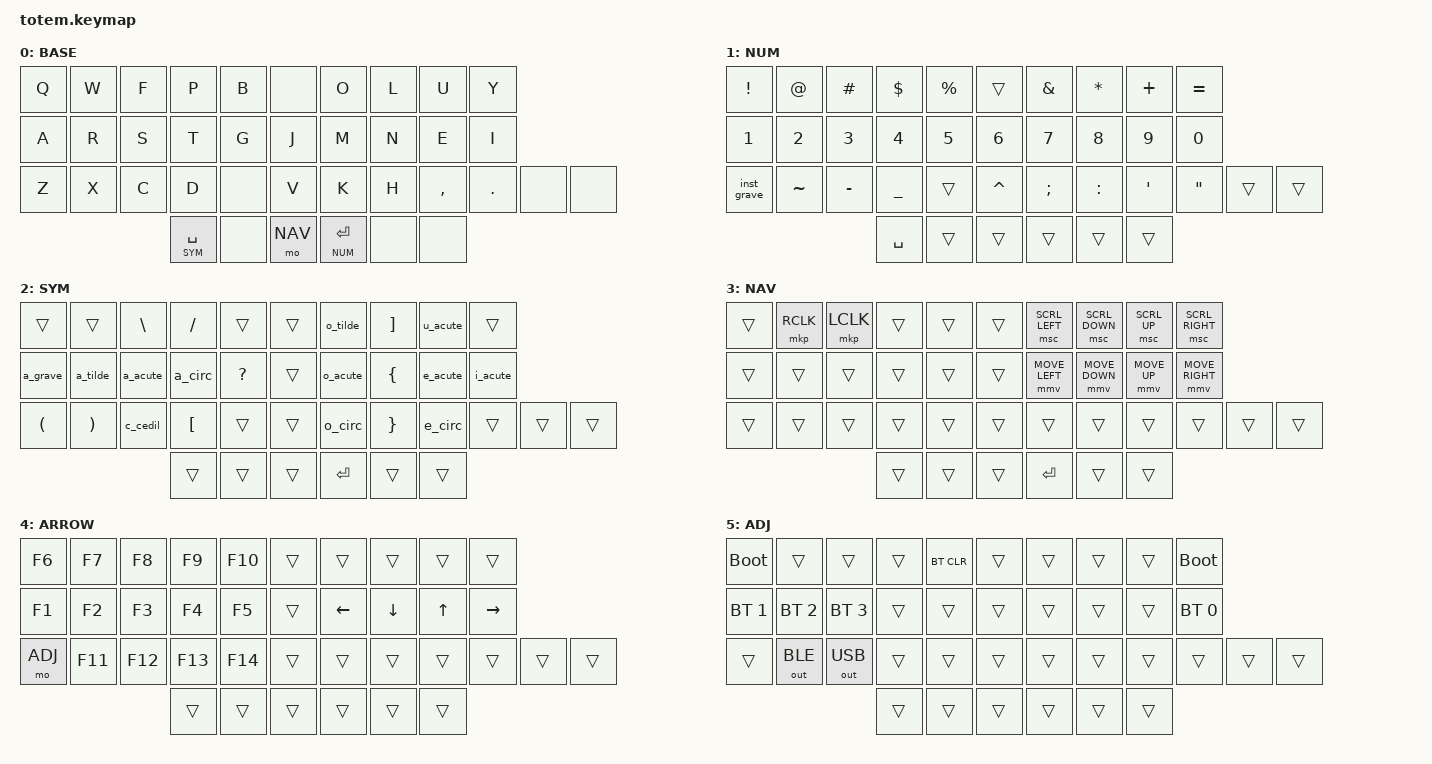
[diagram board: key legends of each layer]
//
//                                                        ▀▀▀▀▀     ▀▀▀▀▀          ▀▀█▀▀
//                                                        ▄▀▀▀▄  ▄  ▄▀▀▀▄  ▄  ▄▀▀▀▄  █  ▄▀▀▀▄
//                                                        █   █  █  █   █  █  █   █  █  █   █
//                                                         ▀▀▀   █   ▀▀▀   █   ▀▀▀   ▀   ▀▀▀
//                                                               █      ▄▄▄█▄▄▄    █   █  
//                                                               ▀      █  █  █     █▄█
//                                                             ▀▀▀▀▀    █  █  █      ▀
//                                                                      ▀  ▀  ▀
//
// ▄▄▄▄▄▄▄▄▄▄▄▄▄▄▄▄▄▄▄▄▄▄▄▄▄▄▄▄▄▄▄▄▄▄▄▄▄▄▄▄▄▄▄▄▄▄▄▄▄▄▄▄▄▄▄▄▄▄▄▄▄▄▄▄▄▄▄▄▄▄▄▄▄▄▄▄▄▄▄▄▄▄▄▄▄▄▄▄▄▄▄▄▄▄▄▄▄▄▄▄▄▄▄▄▄▄▄▄▄▄▄▄▄▄▄▄▄▄▄▄▄▄▄▄▄▄▄▄▄▄▄▄▄▄▄▄▄▄▄▄▄▄▄▄▄▄▄▄▄

#define ZMK_POINTING_DEFAULT_MOVE_VAL 1500  // default: 600

#include <behaviors.dtsi>
#include <dt-bindings/zmk/bt.h>
#include <dt-bindings/zmk/keys.h>
#include <dt-bindings/zmk/outputs.h>
#include <dt-bindings/zmk/pointing.h>

#define BASE       0
#define NUM        1
#define SYM        2
#define NAV        3
#define ARROW      4
#define ADJ        5

// &mt {
//     quick-tap-ms = <200>;
//     global-quick-tap;
//     flavor = "tap-preferred";
//     tapping-term-ms = <170>;
// };

&lt {
    tapping-term-ms = <170>;
    quick-tap-ms = <200>;
    flavor = "tap-preferred";
};

/ {
    macros {
        inst_grave: inst_grave { label = "instant grave"; compatible = "zmk,behavior-macro"; #binding-cells = <0>;
            bindings = <&macro_press &kp LSHFT>, <&macro_tap &kp GRAVE>, <&macro_release &kp LSHFT>; };
        a_grave: a_grave { compatible = "zmk,behavior-macro"; #binding-cells = <0>;
            bindings = <&macro_tap &kp GRAVE>, <&macro_tap &kp A>; };

        a_acute: a_acute { compatible = "zmk,behavior-macro"; #binding-cells = <0>;
            bindings = <&macro_tap &kp SQT>, <&macro_tap &kp A>; };
        o_acute: o_acute { compatible = "zmk,behavior-macro"; #binding-cells = <0>;
            bindings = <&macro_tap &kp SQT>, <&macro_tap &kp O>; };
        e_acute: e_acute { compatible = "zmk,behavior-macro"; #binding-cells = <0>;
            bindings = <&macro_tap &kp SQT>, <&macro_tap &kp E>; };
        i_acute: i_acute { compatible = "zmk,behavior-macro"; #binding-cells = <0>;
            bindings = <&macro_tap &kp SQT>, <&macro_tap &kp I>; };
        u_acute: u_acute { compatible = "zmk,behavior-macro"; #binding-cells = <0>;
            bindings = <&macro_tap &kp SQT>, <&macro_tap &kp U>; };

        a_circ: a_circ { compatible = "zmk,behavior-macro"; #binding-cells = <0>;
            bindings = <&macro_press &kp LSHFT>, <&macro_tap &kp N6>, <&macro_release &kp LSHFT>, <&macro_tap &kp A>; };
        o_circ: o_circ { compatible = "zmk,behavior-macro"; #binding-cells = <0>;
            bindings = <&macro_press &kp LSHFT>, <&macro_tap &kp N6>, <&macro_release &kp LSHFT>, <&macro_tap &kp O>; };
        e_circ: e_circ { compatible = "zmk,behavior-macro"; #binding-cells = <0>;
            bindings = <&macro_press &kp LSHFT>, <&macro_tap &kp N6>, <&macro_release &kp LSHFT>, <&macro_tap &kp E>; };

        a_tilde: a_tilde { compatible = "zmk,behavior-macro"; #binding-cells = <0>;
            bindings = <&macro_press &kp LSHFT>, <&macro_tap &kp GRAVE>, <&macro_release &kp LSHFT>, <&macro_tap &kp A>; };
        o_tilde: o_tilde { compatible = "zmk,behavior-macro"; #binding-cells = <0>;
            bindings = <&macro_press &kp LSHFT>, <&macro_tap &kp GRAVE>, <&macro_release &kp LSHFT>, <&macro_tap &kp O>; };
        c_cedil: c_cedil { compatible = "zmk,behavior-macro"; #binding-cells = <0>;
            bindings = <&macro_tap &kp SQT>, <&macro_tap &kp C>; };

    };
    combos {
        compatible = "zmk,combos";

        combo_lguictrlshift {
            slow-release;
            timeout-ms = <40>;
            key-positions = <10 11 12 13>;       // A + R + S + T
            bindings = <&kp LG(LC(LSHFT))>;
        };
        combo_rguictrlshift {
            slow-release;
            timeout-ms = <40>;
            key-positions = <16 17 18 19>;       // M + N + E + I
            bindings = <&kp RG(RC(RSHFT))>;
        };

        combo_lguictrlaltshift {
            slow-release;
            timeout-ms = <40>;
            key-positions = <10 11  2 13>;       // A + R + F + T
            bindings = <&kp LG(LC(LA((RSHFT))))>;
        };

        combo_rguictrlaltshift {
            slow-release;
            timeout-ms = <40>;
            key-positions = <16  7 18 19>;       // M + L + E + I
            bindings = <&kp RG(RC(RA((RSHFT))))>;
        };

        combo_lshift {
            slow-release;
            timeout-ms = <40>;
            key-positions = <12 13>;       // T + S
            bindings = <&kp LSHFT>;
        };
        combo_rshift {
            slow-release;
            timeout-ms = <40>;
            key-positions = <16 17>;       // M + N
            bindings = <&kp RSHFT>;
        };
        combo_lshift_ctrl {
            slow-release;
            timeout-ms = <40>;
            key-positions = <11 12 13>;       // R S T
            bindings = <&kp LS(LCTRL)>;
        };
        combo_rshift_ctrl {
            slow-release;
            timeout-ms = <40>;
            key-positions = <16 17 18>;       // M N E
            bindings = <&kp RS(RCTRL)>;
        };

        combo_lctrl {
            slow-release;
            timeout-ms = <40>;
            key-positions = <11 12>;       // R S
            bindings = <&kp LCTRL>;
        };
        combo_rctrl {
            slow-release;
            timeout-ms = <40>;
            key-positions = <17 18>;       // N E
            bindings = <&kp RCTRL>;
        };

        combo_lalt {
            slow-release;
            timeout-ms = <40>;
            key-positions = <1 2>;         // W F
            bindings = <&kp LALT>;
        };
        combo_ralt {
            slow-release;
            timeout-ms = <40>;
            key-positions = <7 8>;         // L U
            bindings = <&kp RALT>;
        };
        combo_lalt_shift {
            slow-release;
            timeout-ms = <40>;
            key-positions = <2 13>;        // F T
            bindings = <&kp LA(LSHFT)>;
        };
        combo_ralt_shift {
            slow-release;
            timeout-ms = <40>;
            key-positions = <7 16>;        // L M
            bindings = <&kp RA(RSHFT)>;
        };
        combo_lalt_ctrl {
            slow-release;
            timeout-ms = <40>;
            key-positions = <11 2>;        // R F
            bindings = <&kp LA(LCTRL)>;
        };
        combo_ralt_ctrl {
            slow-release;
            timeout-ms = <40>;
            key-positions = < 7 18>;        // L E
            bindings = <&kp RA(RCTRL)>;
        };
        combo_lalt_ctrl_shift {
            slow-release;
            timeout-ms = <40>;
            key-positions = <11  2 13>;    // R F T
            bindings = <&kp LA(LC(LSHFT))>;
        };
        combo_ralt_ctrl_shift {
            slow-release;
            timeout-ms = <40>;
            key-positions = <16  7 18>;        // M L E
            bindings = <&kp RA(RC(RSHFT))>;
        };

        combo_lgui {
            slow-release;
            timeout-ms = <40>;
            key-positions = <10 11>;       // A + R
            bindings = <&kp LGUI>;
        };

        combo_rgui {
            slow-release;
            timeout-ms = <40>;
            key-positions = <18 19>;       // E + I
            bindings = <&kp RGUI>;
        };

        combo_lgui_alt {
            slow-release;
            timeout-ms = <40>;
            key-positions = <10 2>;        // A + F
            bindings = <&kp LG(LALT)>;
        };

        combo_rgui_alt {
            slow-release;
            timeout-ms = <40>;
            key-positions = <7 19>;        // L + I
            bindings = <&kp RG(RALT)>;
        };

        combo_lgui_ctrl {
            slow-release;
            timeout-ms = <40>;
            key-positions = <10 11 12>;    // A R S
            bindings = <&kp LG(LCTRL)>;
        };

        combo_rgui_ctrl {
            slow-release;
            timeout-ms = <40>;
            key-positions = <17 18 19>;    // N E I
            bindings = <&kp LG(LCTRL)>;
        };

        combo_lgui_shift {
            slow-release;
            timeout-ms = <40>;
            key-positions = <10 11 13>;    // A R T
            bindings = <&kp LG(LSHFT)>;
        };

        combo_rgui_shift {
            slow-release;
            timeout-ms = <40>;
            key-positions = <16 18 19>;    // M E I
            bindings = <&kp RG(RSHFT)>;
        };



        /*
        * Functional combos
        */

        combo_caps {
            timeout-ms = <40>;
            key-positions = <3 4>;         // P + B
            bindings = <&kp CAPS>;
        };

        combo_esc {
            timeout-ms = <40>;
            key-positions = <16 19>;       // M + I
            bindings = <&kp ESC>;
        };

        combo_tab {
            timeout-ms = <40>;
            key-positions = <0 1>;         // Q + W
            bindings = <&kp TAB>;
        };

        combo_backspace {
            timeout-ms = <40>;
            key-positions = <17 26>;       // K + N
            bindings = <&kp BSPC>;
        };

        combo_delete {
            timeout-ms = <40>;
            key-positions = <26 27>;       // K + H
            bindings = <&kp DEL>;
        };

        /*
        * Navigation layer:
        *
        * QMK:
        *   W + F + T -> TT(LAY_NAV)
        *   M + L + U -> TT(LAY_NAV)
        *
        * ZMK doesn't have a direct TT equivalent, so sticky layer
        * is the closest useful representation here.
        */

        combo_arrow_left {
            slow-release;
            timeout-ms = <40>;
            key-positions = <1 13>;      // W T
            bindings = <&sl ARROW>;
        };
        combo_arrow_right {
            slow-release;
            timeout-ms = <40>;
            key-positions = <16 8>;      // M U
            bindings = <&sl ARROW>;
        };
        combo_nav_left {
            slow-release;
            timeout-ms = <40>;
            key-positions = <1 2 13>;      // W F T
            bindings = <&sl NAV>;
        };
        combo_nav_right {
            slow-release;
            timeout-ms = <40>;
            key-positions = <16 7 8>;      // M L U
            bindings = <&sl NAV>;
        };

    };

    keymap {
        compatible = "zmk,keymap";

        //                     ┏━━━━━━━━━━━┳━━━━━━━━━━━┳━━━━━━━━━━━┳━━━━━━━━━━━┳━━━━━━━━━━━┓   ┏━━━━━━━━━━━┳━━━━━━━━━━━┳━━━━━━━━━━━┳━━━━━━━━━━━┳━━━━━━━━━━━┓
        //                     ┃00   Q     ┃01   W     ┃02   F     ┃03   P     ┃04   B     ┃   ┃05         ┃06   O     ┃07   L     ┃08   U     ┃09   Y     ┃ 
        //                     ┣━━━━━━━━━━━╋━━━━━━━━━━━╋━━━━━━━━━━━╋━━━━━━━━━━━╋━━━━━━━━━━━┫   ┣━━━━━━━━━━━╋━━━━━━━━━━━╋━━━━━━━━━━━╋━━━━━━━━━━━╋━━━━━━━━━━━┫
        //                     ┃10   A     ┃11   R     ┃12   S     ┃13   T     ┃14   G     ┃   ┃15   J     ┃16   M     ┃17   N     ┃18   E     ┃19   I     ┃
        //         ┏━━━━━━━━━━━╋━━━━━━━━━━━╋━━━━━━━━━━━╋━━━━━━━━━━━╋━━━━━━━━━━━╋━━━━━━━━━━━┫   ┣━━━━━━━━━━━╋━━━━━━━━━━━╋━━━━━━━━━━━╋━━━━━━━━━━━╋━━━━━━━━━━━╋━━━━━━━━━━━┓
        //         ┃31   ESC   ┃20   Z     ┃21   X     ┃22   C     ┃23   D     ┃24         ┃   ┃25   V     ┃26   K     ┃27   H     ┃28   ,     ┃29   .     ┃31  TAB    ┃
        //         ┗━━━━━━━━━━━┻━━━━━━━━━━━┻━━━━━━━━━━━╋━━━━━━━━━━━╋━━━━━━━━━━━╋━━━━━━━━━━━┫   ┣━━━━━━━━━━━╋━━━━━━━━━━━╋━━━━━━━━━━━╋━━━━━━━━━━━┻━━━━━━━━━━━┻━━━━━━━━━━━┛
        //                                             ┃36         ┃32 \SPC    ┃33         ┃   ┃34         ┃35 \ENTER  ┃37         ┃
        //                                             ┗━━━━━━━━━━━┻━━━━━━━━━━━┻━━━━━━━━━━━┛   ┗━━━━━━━━━━━┻━━━━━━━━━━━┻━━━━━━━━━━━┛

        base_layer {
            //     ╷           ╷           ╷           ╷           ╷           ╷           ╷   ╷           ╷           ╷           ╷           ╷           ╷           ╷

            label = "BASE"; bindings = <
                                &kp Q       &kp W       &kp F       &kp P       &kp B           &none       &kp O       &kp L       &kp U       &kp Y
                                &kp A       &kp R       &kp S       &kp T       &kp G           &kp J       &kp M       &kp N       &kp E       &kp I
                                &kp Z       &kp X       &kp C       &kp D       &none           &kp V       &kp K       &kp H       &kp COMMA   &kp DOT     &none       &none
                                                                    &lt SYM SPACE &none           &mo NAV  &lt NUM ENTER  &none  &none
            >;
        };
        num_layer {
            //     ╷           ╷           ╷           ╷           ╷           ╷           ╷   ╷           ╷           ╷           ╷           ╷           ╷           ╷

            label = "NUM"; bindings = <

                                &kp EXCL    &kp AT      &kp HASH    &kp DLLR    &kp PRCNT       &trans      &kp AMPS    &kp ASTRK   &kp PLUS    &kp EQUAL
                                &kp N1      &kp N2      &kp N3      &kp N4      &kp N5          &kp N6      &kp N7      &kp N8      &kp N9      &kp N0
                                &inst_grave &kp TILDE   &kp MINUS   &kp UNDER   &trans          &kp CARET   &kp SEMI    &kp COLON   &kp SQT     &kp DQT     &trans      &trans
                                                                    &kp SPACE   &trans          &trans      &trans      &trans &trans
            >;
        };
        sym_layer {
            //     ╷           ╷           ╷           ╷           ╷           ╷           ╷   ╷           ╷           ╷           ╷           ╷           ╷           ╷

            label = "SYM"; bindings = <
                                &trans      &trans      &kp BSLH    &kp FSLH    &trans          &trans      &o_tilde    &kp RBKT    &u_acute    &trans
                                &a_grave    &a_tilde    &a_acute    &a_circ     &kp QMARK       &trans      &o_acute    &kp LBRC    &e_acute    &i_acute
                                &kp LPAR    &kp RPAR    &c_cedil    &kp LBKT    &trans          &trans      &o_circ     &kp RBRC    &e_circ     &trans      &trans      &trans
                                                                    &trans      &trans          &trans      &kp ENTER   &trans &trans
            >;
        };
        nav_layer {
            label = "NAV"; bindings = <
                                &trans    &mkp RCLK     &mkp LCLK   &trans      &trans          &trans &msc SCRL_LEFT &msc SCRL_DOWN &msc SCRL_UP  &msc SCRL_RIGHT
                                &trans      &trans      &trans      &trans      &trans          &trans &mmv MOVE_LEFT &mmv MOVE_DOWN &mmv MOVE_UP  &mmv MOVE_RIGHT
                                &trans      &trans      &trans      &trans      &trans          &trans      &trans      &trans      &trans      &trans       &trans      &trans
                                                                    &trans      &trans          &trans      &kp ENTER   &trans &trans
            >;
        };
        arrow_layer {
            label = "ARROW"; bindings = <
                                &kp F6      &kp F7      &kp F8      &kp F9      &kp F10         &trans      &trans       &trans     &trans      &trans
                                &kp F1      &kp F2      &kp F3      &kp F4      &kp F5          &trans      &kp LEFT     &kp DOWN   &kp UP      &kp RIGHT
                                &mo ADJ     &kp F11     &kp F12     &kp F13     &kp F14         &trans      &trans       &trans     &trans      &trans      &trans      &trans
                                                                    &trans      &trans          &trans      &trans       &trans &trans
            >;
        };
        adj_layer {
            label = "ADJ"; bindings = <
                               &bootloader  &trans      &trans      &trans      &bt BT_CLR      &trans      &trans       &trans     &trans      &bootloader
                             &bt BT_SEL 1 &bt BT_SEL 2 &bt BT_SEL 3 &trans      &trans          &trans      &trans       &trans     &trans      &bt BT_SEL 0
                                &trans  &out OUT_BLE &out OUT_USB   &trans      &trans          &trans      &trans       &trans     &trans      &trans      &trans      &trans
                                                                    &trans      &trans          &trans      &trans       &trans     &trans
            >;
        };
    //     adj_layer {
    //         display-name = "ADJ";
    //
    //         bindings = <
    //             &bt BT_SEL 0       &bt BT_SEL 1       &bt BT_SEL 2          &bt BT_SEL 3       &trans             &trans
    //
    //             &sys_reset         &trans             &trans             &trans             &trans          &trans             &kp F1             &kp F2             &kp F3             &kp F4
    //
    //             &bootloader        &trans             &trans             &trans             &trans          &trans             &kp F5             &kp F6             &kp F7             &kp F8
    //             &kp F9
    //
    //             &trans             &trans             &trans          &trans             &kp F10            &kp F11
    //         >;
    //     };
    //     arrow_layer {
    //         display-name = "ARROW";
    //
    //         bindings = <
    //                     &trans        &trans       &kp BRI_UP    &kp BRI_DN    &kp C_PP      &trans       &kp HOME     &kp PG_DN     &kp PG_UP    &kp END */
    //                     &kp C_VOL_DN  &kp C_VOL_UP &kp C_PREV    &kp C_NEXT    &trans        &trans       &kp LEFT     &kp DOWN      &kp UP       &kp RIGHT
    //               &trans    &trans       &trans        &trans        &trans        &trans        &trans       &trans       &trans        &trans       &trans    &trans
    //                                                &trans        &trans        &trans        &trans       &trans       &trans
    //         >;
    //     };
    //     opts_layer {
    //         display-name = "OPTS";
    //
    //         bindings = <
    //                          &trans       &bt BT_SEL 0  &bt BT_SEL 1  &bt BT_SEL 2  &bt BT_SEL 3    &trans       &trans        &trans        &trans        &sys_reset
    //                          &kp F1       &kp F2        &kp F3        &kp F4        &kp F5          &kp F6       &kp F7        &kp F8        &kp F9        &kp F10        &kp F11
    //             &bootloader  &trans        &trans        &trans       &trans        &trans          &kp F12      &trans        &trans        &trans        &trans
    //                          &trans       &trans        &trans                                      &trans       &trans        &trans
    //         >;
    //     };
    };
};
